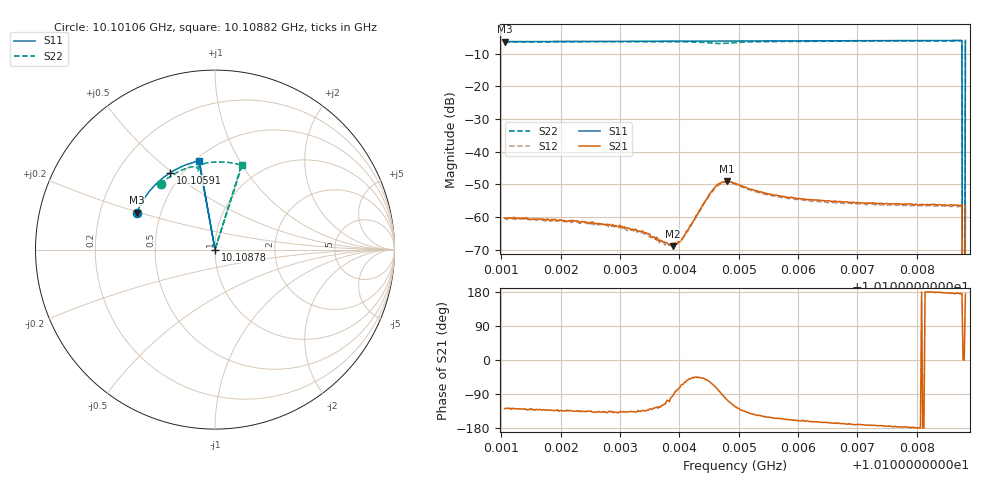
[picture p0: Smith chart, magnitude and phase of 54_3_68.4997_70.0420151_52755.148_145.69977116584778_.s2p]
#  HZ  S  RI  R  50.00
! Rohde & Schwarz Vector Network Analyzer
! Rohde-Schwarz,ZNB20-2Port,1311601062101988,3.16
! Created: UTC 3/20/2024, 5:06:07 PM
! freq[Hz]  re:S11  im:S11  re:S21  im:S21  re:S12  im:S12  re:S22  im:S22
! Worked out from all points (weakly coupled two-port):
!   401 points, 10.10106 GHz to 10.10882 GHz, reference 50 ohm
!   highest |S21| = -49.16 dB at 10.1048 GHz (marker M1); lowest = -69.0 dB at 10.10389 GHz (marker M2)
!   lowest |S11| = -6.3 dB at 10.10106 GHz (marker M3), VSWR 2.86, Z = 18.3 + j9.8 ohm
!   |S11| at or under -10 dB: 10.10876 GHz to 10.10882 GHz (57.43 kHz wide, 0.000568 % of centre)
!   |S22| runs from - to -6.1 dB; largest |S21 - S12| = 0.00035
!   S11 on the Smith chart (normalised r, x): 10.10106 GHz: 0.37, +0.20; 10.10591 GHz: 0.43, +0.49; 10.10878 GHz: 1.00, +0.00; 10.10882 GHz: 0.53, +0.69
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1.0101056e10  -0.4355 0.2062  -0.000592 -0.000748  -0.000536 -0.000799  -0.3034 0.3646
1.0102356e10  -0.3995 0.2768  -0.000599 -0.000605  -0.000531 -0.000602  -0.236 0.4157
1.0103171e10  -0.3714 0.3174  -0.000474 -0.000454  -0.000407 -0.0005  -0.1887 0.4415
1.0103404e10  -0.3625 0.3284  -0.0004 -0.000416  -0.000351 -0.000424  -0.1739 0.4478
1.0103657e10  -0.3526 0.34  -0.00023 -0.000357  -0.000188 -0.000352  -0.1574 0.454
1.0103851e10  -0.3447 0.3489  -7.32e-05 -0.000375  -5.16e-05 -0.000367  -0.144 0.458
1.010389e10  -0.343 0.3506  -3.38e-05 -0.000355  -4.37e-06 -0.00036  -0.1409 0.4586
1.0103987e10  -0.3389 0.3549  0.000109 -0.000412  0.000134 -0.000381  -0.1337 0.4601
1.0104045e10  -0.3366 0.3574  0.000201 -0.000421  0.000226 -0.000386  -0.1293 0.4606
1.0104472e10  -0.318 0.3754  0.00116 -0.00155  0.00124 -0.0014  -0.0947 0.4533
1.0104588e10  -0.3127 0.3801  0.00103 -0.00255  0.00119 -0.00238  -0.0911 0.4447
1.0104685e10  -0.3083 0.384  0.000311 -0.00326  0.000587 -0.00309  -0.0947 0.4396
1.0104802e10  -0.3032 0.3886  -0.000908 -0.00336  -0.000587 -0.0033  -0.1012 0.4426
1.0104938e10  -0.2969 0.3939  -0.00177 -0.00274  -0.00144 -0.00278  -0.1012 0.4532
1.0105404e10  -0.2745 0.4112  -0.00203 -0.00124  -0.0018 -0.00136  -0.0715 0.4757
1.0105908e10  -0.2495 0.4285  -0.00182 -0.000741  -0.00166 -0.000855  -0.0364 0.4842
1.0106238e10  -0.2322 0.439  -0.00175 -0.000553  -0.0016 -0.000662  -0.0141 0.4868
1.0107539e10  -0.1612 0.4726  -0.00157 -0.000139  -0.00151 -0.000282  0.0708 0.4859
1.0108723e10  -0.0927 0.4929  -0.00149 0.00011  -0.00146 -5.46e-05  0.1454 0.4718
1.0108762e10  -0.0903 0.4933  -0.00152 0.000142  -0.00143 -4.36e-05  0.1476 0.4711
1.0108781e10  0 0  0 0  0 0  0 0
1.010882e10  -0.087 0.4939  -0.00149 0.00016  -0.00145 -4.21e-06  0.1513 0.4701
